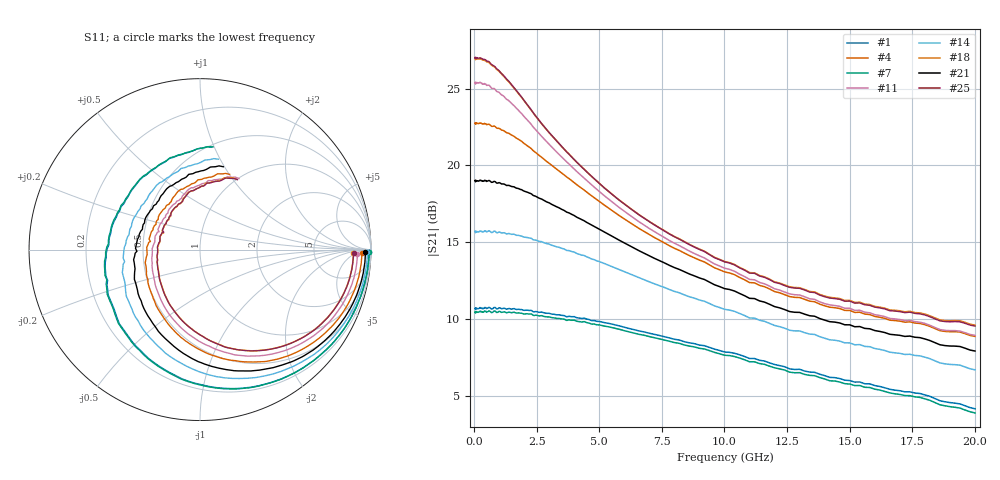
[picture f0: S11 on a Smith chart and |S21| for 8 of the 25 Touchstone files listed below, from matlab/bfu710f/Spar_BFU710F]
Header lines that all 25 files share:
! Device data file deembeded for feedlines and parallel
! Feed-files: PR003V01_101208_Feed1.s2p, PR003V01_101208_Feed2.s2p
! Parallel-file: PR003V01_101208_Par.s2p
# MHz S MA R 50
!  Freq-MHz  S11-mag  S11-arg  S21-mag  S21-arg  S12-mag  S12-arg  S22-mag  S22-arg
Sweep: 40 MHz to 20 GHz
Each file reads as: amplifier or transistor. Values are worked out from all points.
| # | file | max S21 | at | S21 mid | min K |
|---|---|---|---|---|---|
| 1 | BFU710F_1p5V_1mA.s2p | 10.8 dB | 600 MHz | 10.1 dB at 4.2 GHz | -0.24 |
| 2 | BFU710F_1p5V_2mA.s2p | 16.0 dB | 600 MHz | 14.4 dB at 4.2 GHz | -0.04 |
| 3 | BFU710F_1p5V_3p5mA.s2p | 20.2 dB | 240 MHz | 17.3 dB at 4.2 GHz | -0.18 |
| 4 | BFU710F_1p5V_5mA.s2p | 22.8 dB | 50 MHz | 18.6 dB at 4.2 GHz | -0.02 |
| 5 | BFU710F_1p5V_7p5mA.s2p | 25.4 dB | 50 MHz | 19.6 dB at 4.2 GHz | -0.05 |
| 6 | BFU710F_1p5V_10mA.s2p | 27.0 dB | 240 MHz | 20.0 dB at 4.2 GHz | -0.01 |
| 7 | BFU710F_1V_1mA.s2p | 10.5 dB | 600 MHz | 9.8 dB at 4.2 GHz | -0.38 |
| 8 | BFU710F_1V_2mA.s2p | 16.1 dB | 240 MHz | 14.4 dB at 4.2 GHz | -0.03 |
| 9 | BFU710F_1V_3p5mA.s2p | 20.3 dB | 240 MHz | 17.2 dB at 4.2 GHz | -0.18 |
| 10 | BFU710F_1V_5mA.s2p | 22.8 dB | 50 MHz | 18.6 dB at 4.2 GHz | -0.15 |
| 11 | BFU710F_1V_7p5mA.s2p | 25.4 dB | 240 MHz | 19.5 dB at 4.2 GHz | 0.00 |
| 12 | BFU710F_1V_10mA.s2p | 26.2 dB | 240 MHz | 19.1 dB at 4.2 GHz | -0.02 |
| 13 | BFU710F_2p5V_1mA.s2p | 10.4 dB | 600 MHz | 9.8 dB at 4.2 GHz | -0.04 |
| 14 | BFU710F_2p5V_2mA.s2p | 15.7 dB | 600 MHz | 14.2 dB at 4.2 GHz | -0.33 |
| 15 | BFU710F_2p5V_3p5mA.s2p | 20.1 dB | 50 MHz | 17.2 dB at 4.2 GHz | 0.00 |
| 16 | BFU710F_2p5V_5mA.s2p | 22.7 dB | 50 MHz | 18.6 dB at 4.2 GHz | -0.38 |
| 17 | BFU710F_2p5V_7p5mA.s2p | 25.3 dB | 50 MHz | 19.6 dB at 4.2 GHz | -0.35 |
| 18 | BFU710F_2p5V_10mA.s2p | 27.0 dB | 50 MHz | 20.1 dB at 4.2 GHz | 0.01 |
| 19 | BFU710F_2V_1mA_S_N.s2p | 10.3 dB | 600 MHz | 9.6 dB at 4.2 GHz | -0.13 |
| 20 | BFU710F_2V_2mA_S_N.s2p | 16.0 dB | 600 MHz | 14.4 dB at 4.2 GHz | -0.42 |
| 21 | BFU710F_2V_3mA_S_N.s2p | 19.0 dB | 240 MHz | 16.5 dB at 4.2 GHz | -0.09 |
| 22 | BFU710F_2V_5mA_S_N.s2p | 22.7 dB | 50 MHz | 18.6 dB at 4.2 GHz | -0.18 |
| 23 | BFU710F_2V_6mA_S_N.s2p | 23.9 dB | 50 MHz | 19.1 dB at 4.2 GHz | -0.02 |
| 24 | BFU710F_2V_9mA_S_N.s2p | 26.5 dB | 50 MHz | 19.9 dB at 4.2 GHz | -0.01 |
| 25 | BFU710F_2V_10mA_S_N.s2p | 27.0 dB | 50 MHz | 20.1 dB at 4.2 GHz | -0.01 |
